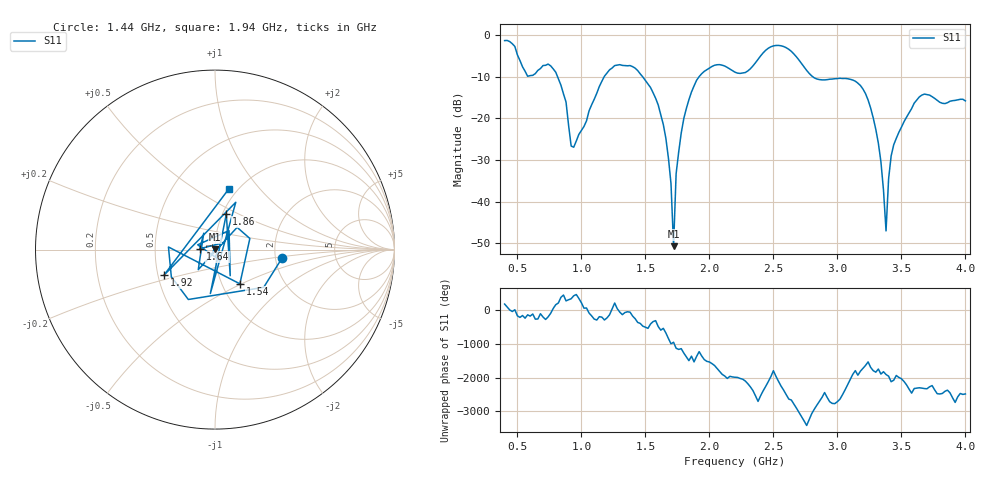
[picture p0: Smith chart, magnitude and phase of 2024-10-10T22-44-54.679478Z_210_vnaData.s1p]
! Created with skrf (http://scikit-rf.org).
# Hz S RI R 50.0
!freq ReS11 ImS11
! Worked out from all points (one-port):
!   181 points, 400 MHz to 4 GHz, reference 50 ohm
!   lowest |S11| = -50.7 dB at 1.72 GHz (marker M1), VSWR 1.01, Z = 49.8 + j0.24 ohm
!   |S11| at or under -10 dB: 813.8 MHz to 1.177 GHz (363.5 MHz wide, 36.5 % of centre); 1.479 GHz to 1.918 GHz (439.1 MHz wide, 25.8 % of centre); 2.809 GHz to end of sweep
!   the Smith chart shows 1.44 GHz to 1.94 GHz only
!   S11 on the Smith chart (normalised r, x): 1.44 GHz: 2.17, -0.25; 1.54 GHz: 1.21, -0.49; 1.64 GHz: 0.84, +0.01; 1.86 GHz: 1.04, +0.43; 1.92 GHz: 0.54, -0.17; 1.94 GHz: 0.91, +0.70
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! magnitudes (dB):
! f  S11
! 400 MHz  -1.3
! 580 MHz  -9.9
! 760 MHz  -7.4
! 860 MHz  -14.1
! 940 MHz  -26.9
! 1.18 GHz  -9.8
! 1.3 GHz  -7.1
! 1.44 GHz  -8.5
! 1.54 GHz  -12.6
! 1.64 GHz  -21.5
! 1.7 GHz  -35.7
! 1.72 GHz  -50.7
! 1.74 GHz  -33.3
! 1.76 GHz  -28.1
! 1.86 GHz  -13.6
! 1.92 GHz  -9.9
! 1.94 GHz  -9.2
! 2.2 GHz  -8.9
! 2.66 GHz  -4.5
! 2.82 GHz  -10.2
! 3.1 GHz  -10.6
! 3.28 GHz  -19.9
! 3.34 GHz  -30.4
! 3.38 GHz  -47.0
! 3.42 GHz  -29.0
! 3.56 GHz  -18.7
! 3.68 GHz  -14.1
! 4 GHz  -15.8
